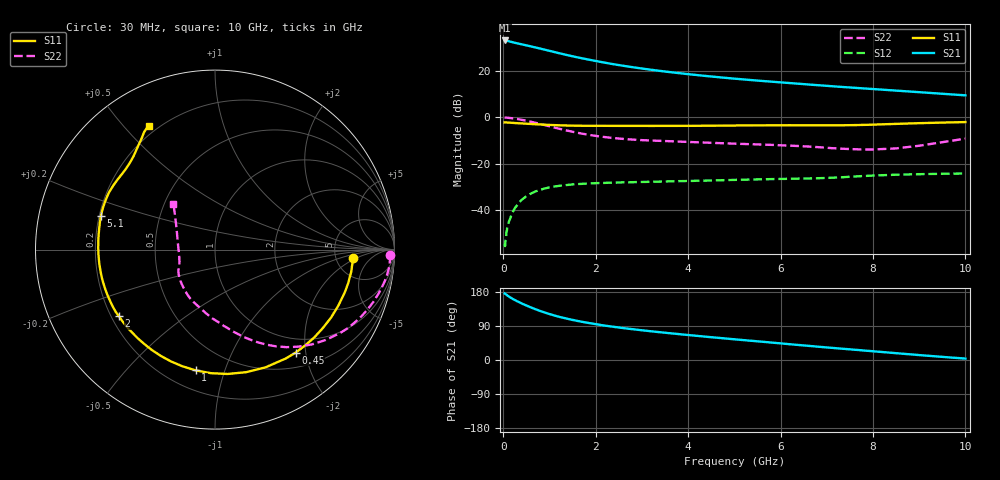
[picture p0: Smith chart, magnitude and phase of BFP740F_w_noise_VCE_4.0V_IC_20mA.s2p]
! Infineon Technologies  Discrete & RF Semiconductors
! BFP740F
! VCE =  4.0 V,  IC =  20 mA
! Common Emitter S-Parameters:  Oct 2012
# GHz  S  MA  R  50
!  f  S11  S21  S12  S22
! GHz  MAG  ANG  MAG  ANG  MAG  ANG  MAG  ANG
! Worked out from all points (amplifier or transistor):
!   99 points, 30 MHz to 10 GHz, reference 50 ohm
!   highest |S21| = 32.9 dB at 30 MHz (marker M1)
!   |S21| within 3 dB of that: start of sweep to 696.3 MHz
!   unconditionally stable (mu >= 1): 5.884 GHz to end of sweep
!   at 350 MHz: K = 0.17, MSG = 34.0 dB, |S12| = -36.5 dB
!   at 3.5 GHz: K = 0.68, MSG = 23.6 dB, |S12| = -27.6 dB
!   at 10 GHz: K = 1.20, MAG = 14.1 dB, |S12| = -24.2 dB
!   lowest NFmin = 0.64 dB at 450 MHz
!   S11 on the Smith chart (normalised r, x): 30 MHz: 7.33, -1.70; 450 MHz: 0.74, -1.81; 1 GHz: 0.32, -0.80; 2 GHz: 0.23, -0.30; 5.1 GHz: 0.21, +0.14; 10 GHz: 0.16, +0.59
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0.03  0.771 -3.5  44.31 175.7  0.0019 73.2  0.9755 -1.7
0.05  0.7691 -6.0  44.3 174.0  0.0023 81.9  0.9764 -3.4
0.1  0.7658 -12.5  43.16 169.4  0.0048 70.9  0.9705 -7.6
0.2  0.7547 -24.6  40.73 161.6  0.009 74.7  0.9445 -14.9
0.3  0.743 -36.0  38.56 155.1  0.0128 70.5  0.9123 -21.6
0.45  0.7289 -52.0  35.64 146.5  0.0184 63.9  0.8583 -30.8
0.6  0.7139 -66.8  33.01 138.7  0.0229 57.2  0.7965 -39.2
0.7  0.7045 -75.8  31.31 133.9  0.0255 53.3  0.756 -44.3
0.8  0.6965 -84.3  29.66 129.3  0.0276 50.0  0.7142 -49.2
1  0.6815 -99.1  26.53 121.3  0.031 43.8  0.636 -57.9
1.2  0.6696 -111.6  23.75 114.3  0.0334 39.2  0.5674 -65.4
1.3  0.6646 -117.1  22.5 111.3  0.0344 37.2  0.5372 -68.8
1.5  0.6572 -126.7  20.28 105.8  0.036 33.9  0.4856 -75.0
1.7  0.6533 -134.9  18.39 100.9  0.037 31.3  0.443 -80.8
2  0.6519 -145.2  16.09 94.6  0.0383 28.2  0.3966 -89.0
2.6  0.6499 -160.2  12.67 84.2  0.0399 24.7  0.3411 -102.6
3.4  0.6492 -174.3  9.822 73.2  0.0414 22.5  0.3099 -115.1
4.2  0.6523 174.5  7.995 63.6  0.0432 21.9  0.289 -123.6
5.1  0.6628 163.5  6.582 53.6  0.0452 21.5  0.2677 -133.4
6.7  0.6686 145.4  4.945 36.4  0.0485 21.8  0.2307 -151.6
8.5  0.7172 126.8  3.716 18.0  0.0581 20.2  0.2135 167.0
10  0.7839 118.2  2.939 3.7  0.0617 15.6  0.3459 132.1
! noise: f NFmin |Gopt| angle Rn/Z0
0.45  0.64  0.06  8  1.06
0.9  0.67  0.07  22  0.67
1.5  0.72  0.07  40  0.48
1.9  0.75  0.07  56  0.4
2.4  0.8  0.07  74  0.41
3.5  0.9  0.06  94  0.37
5.5  1.08  0.09  -158  0.31
10  1.47  0.39  -107  0.12
